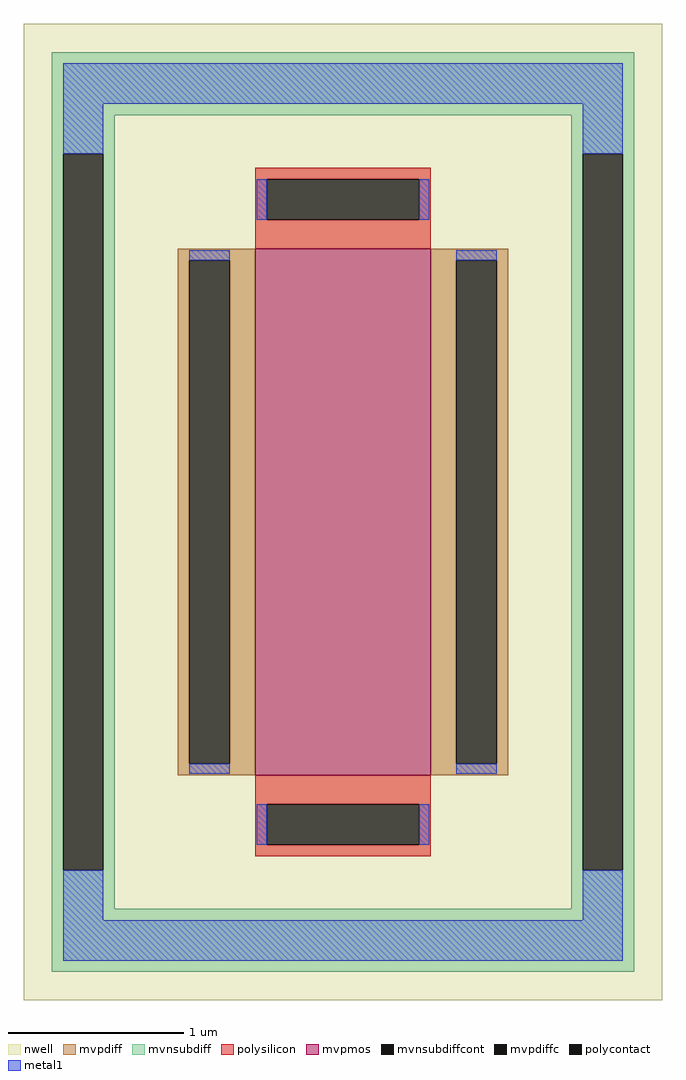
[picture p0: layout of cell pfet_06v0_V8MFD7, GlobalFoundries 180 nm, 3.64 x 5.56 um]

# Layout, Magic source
magic
tech gf180mcuD
magscale 1 10
<< nwell >>
rect -364 -556 364 556
<< mvpmos >>
rect -100 -300 100 300
<< mvpdiff >>
rect -188 287 -100 300
rect -188 -287 -175 287
rect -129 -287 -100 287
rect -188 -300 -100 -287
rect 100 287 188 300
rect 100 -287 129 287
rect 175 -287 188 287
rect 100 -300 188 -287
<< mvpdiffc >>
rect -175 -287 -129 287
rect 129 -287 175 287
<< mvnsubdiff >>
rect -332 452 332 524
rect -332 408 -260 452
rect -332 -408 -319 408
rect -273 -408 -260 408
rect 260 408 332 452
rect -332 -452 -260 -408
rect 260 -408 273 408
rect 319 -408 332 408
rect 260 -452 332 -408
rect -332 -524 332 -452
<< mvnsubdiffcont >>
rect -319 -408 -273 408
rect 273 -408 319 408
<< polysilicon >>
rect -100 379 100 392
rect -100 333 -87 379
rect 87 333 100 379
rect -100 300 100 333
rect -100 -333 100 -300
rect -100 -379 -87 -333
rect 87 -379 100 -333
rect -100 -392 100 -379
<< polycontact >>
rect -87 333 87 379
rect -87 -379 87 -333
<< metal1 >>
rect -319 465 319 511
rect -319 408 -273 465
rect 273 408 319 465
rect -98 333 -87 379
rect 87 333 98 379
rect -175 287 -129 298
rect -175 -298 -129 -287
rect 129 287 175 298
rect 129 -298 175 -287
rect -98 -379 -87 -333
rect 87 -379 98 -333
rect -319 -465 -273 -408
rect 273 -465 319 -408
rect -319 -511 319 -465
<< properties >>
string FIXED_BBOX -296 -488 296 488
string gencell pfet_06v0
string library gf180mcu
string parameters w 3.0 l 1.0 m 1 nf 1 diffcov 100 polycov 100 guard 1 glc 1 grc 1 gtc 0 gbc 0 tbcov 100 rlcov 100 topc 1 botc 1 poverlap 0 doverlap 1 lmin 0.55 wmin 0.3 class mosfet full_metal 1 compatible {pfet_03v3 pfet_05v0 pfet_06v0}
<< end >>
